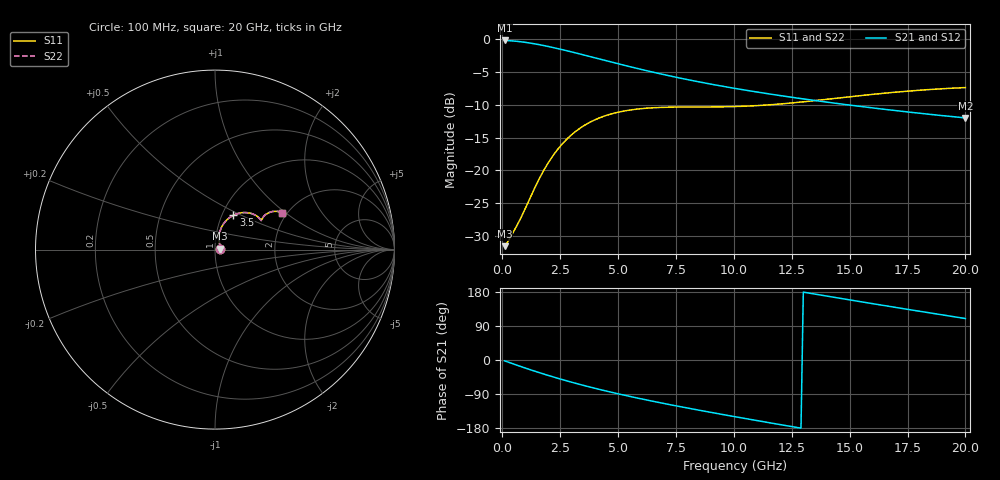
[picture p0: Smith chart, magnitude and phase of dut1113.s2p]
! Touchstone file exported from HFSS 2024.1.0
!  File:  C:/UserFiles/LocalFiles/RDL_TSV_Batchsim/temp_RDL_TSV_1113_1780103932.aedt
!  Generated:  09:30:49 AM May 30, 2026
!  Design:  RDL_TSV
!  Project:  temp_RDL_TSV_1113_1780103932
!  Setup:  Setup1
!  Solution:  Sweep
! Variables:
!  dtsv = 8.62um
!  hbump = 3um
!  htsv = 99.71um
!  ldown = 269.4um
!  lrdl = 636.33um
!  p = 40
!  p1 = 55.26um
!  rhole = 10um
!  subl = 3353.52um
!  t = 450um
!  tdown = 4.23um
!  trdl = 2.26um
!  viad = 10um
!  wdown = 22.24um
!  wrdl = 17.64um
!  xbump = 18um
# GHz S MA R 50.000000
! Terminal data exported
! Port[1] = TM1_1_T1
! Port[2] = TM1_4_T1
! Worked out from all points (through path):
!   200 points, 100 MHz to 20 GHz, reference 50 ohm
!   highest |S21| = -0.23 dB at 100 MHz (marker M1); lowest = -12.0 dB at 20 GHz (marker M2)
!   group delay of S21, straight-line fit = 32.8 ps
!   lowest |S11| = -31.5 dB at 100 MHz (marker M3), VSWR 1.05, Z = 52.7 + j0.498 ohm
!   |S11| at or under -10 dB: start of sweep to 11.63 GHz
!   |S22| runs from -31.5 to -7.4 dB; largest |S21 - S12| = 3.3e-14
!   S11 on the Smith chart (normalised r, x): 100 MHz: 1.05, +0.01; 3.5 GHz: 1.13, +0.46; 20 GHz: 1.89, +0.95
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0.1  0.02654 10.3  0.9735 -2.2  0.9735 -2.2  0.02654 10.3
! Gamma 0 0 0 0
! Port Impedance 50 0 50 0
0.5  0.03452 39.7  0.964 -10.9  0.964 -10.9  0.03452 39.7
0.9  0.04729 58.9  0.947 -19.4  0.947 -19.4  0.0473 58.9
1.4  0.0735 71.9  0.9177 -29.5  0.9177 -29.5  0.0735 71.9
1.8  0.1008 74.7  0.8898 -37.3  0.8898 -37.3  0.1007 74.6
2.2  0.1303 73.7  0.8596 -44.7  0.8596 -44.7  0.1303 73.6
2.6  0.1597 70.8  0.8281 -51.9  0.8281 -51.9  0.1596 70.7
3  0.1873 66.9  0.7962 -58.7  0.7962 -58.7  0.1871 66.9
3.5  0.2176 61.8  0.7566 -66.9  0.7566 -66.9  0.2173 61.7
4.2  0.2511 54.7  0.7035 -77.7  0.7035 -77.7  0.2507 54.7
5.1  0.2795 47.0  0.641 -90.6  0.641 -90.6  0.279 46.9
5.9  0.2937 41.5  0.5919 -101.2  0.5919 -101.2  0.2931 41.4
6.8  0.3011 37.0  0.5439 -112.6  0.5439 -112.6  0.3004 37.0
7.6  0.3033 34.3  0.507 -122.1  0.507 -122.1  0.3025 34.3
8.4  0.3037 32.8  0.4748 -131.4  0.4748 -131.4  0.3028 32.8
10.1  0.3062 32.3  0.4189 -150.2  0.4189 -150.2  0.3053 32.3
11.7  0.3169 33.4  0.3776 -167.3  0.3776 -167.3  0.3161 33.6
13.4  0.338 34.5  0.3419 175.0  0.3419 175.0  0.3375 34.6
15.1  0.3646 34.3  0.3123 157.6  0.3123 157.6  0.3643 34.5
16.7  0.3895 33.1  0.2888 141.6  0.2888 141.6  0.3894 33.2
18.3  0.4105 31.1  0.2688 125.9  0.2688 125.9  0.4107 31.2
20  0.4267 28.7  0.2509 109.4  0.2509 109.4  0.427 28.8
